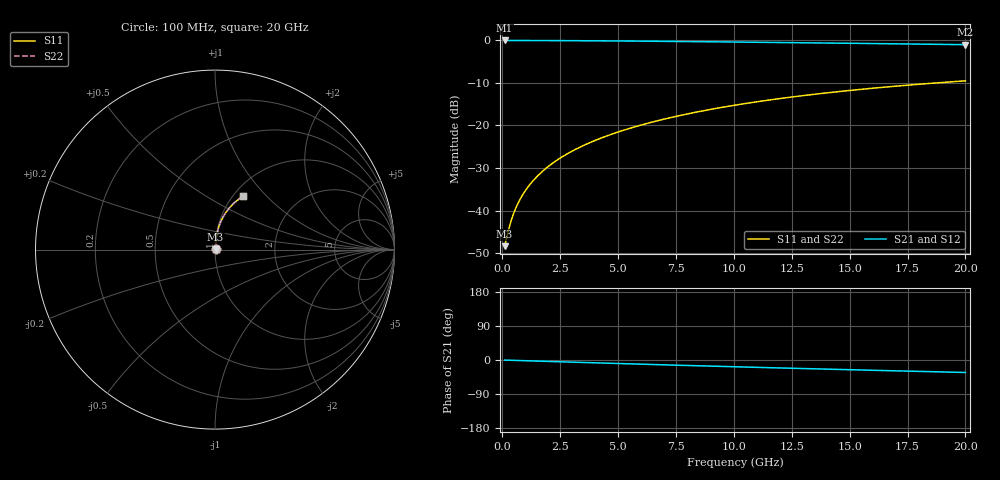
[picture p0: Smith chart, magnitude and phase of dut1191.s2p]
! Touchstone file exported from HFSS 2024.1.0
!  File:  C:/UserFiles/LocalFiles/RDL_TSV_Batchsim/temp_RDL_bottom_1191_1780057668.aedt
!  Generated:  08:30:16 PM May 29, 2026
!  Design:  RDL_bottom
!  Project:  temp_RDL_bottom_1191_1780057668
!  Setup:  Setup1
!  Solution:  Sweep
! Variables:
!  dtsv = 10.80580581um
!  hbump = 3um
!  htsv = 92.15um
!  ldown = 435.28um
!  lrdl = 100um
!  p = 40
!  p1 = 46.9um
!  rhole = 1um
!  t = 450um
!  tdown = 2.54um
!  trdl = 3.915915916um
!  wdown = 19.46um
!  wrdl = 20um
# GHz S MA R 50.000000
! Terminal data exported
! Port[1] = RDL1_T1
! Port[2] = RDL1_T2
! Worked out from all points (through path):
!   200 points, 100 MHz to 20 GHz, reference 50 ohm
!   highest |S21| = -0.03 dB at 100 MHz (marker M1); lowest = -1.0 dB at 20 GHz (marker M2)
!   group delay of S21, straight-line fit = 4.55 ps
!   lowest |S11| = -48.4 dB at 100 MHz (marker M3), VSWR 1.01, Z = 50.3 + j0.18 ohm
!   |S11| at or under -10 dB: start of sweep to 18.76 GHz
!   |S22| runs from -48.4 to -9.5 dB; largest |S21 - S12| = 3.5e-15
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0.1  0.003815 27.9  0.9966 -0.2  0.9966 -0.2  0.003815 27.9
! Gamma 0 0 0 0
! Port Impedance 50 0 50 0
0.3  0.006361 55.9  0.9964 -0.6  0.9964 -0.6  0.006361 55.9
0.4  0.00787 62.0  0.9962 -0.8  0.9962 -0.8  0.00787 62.0
0.5  0.009409 66.1  0.9961 -1.0  0.9961 -1.0  0.009409 66.1
0.6  0.01096 69.0  0.9959 -1.2  0.9959 -1.2  0.01096 69.0
0.7  0.01251 71.2  0.9958 -1.4  0.9958 -1.4  0.01251 71.2
0.9  0.01563 74.4  0.9955 -1.7  0.9955 -1.7  0.01563 74.4
1.2  0.02036 77.4  0.995 -2.3  0.995 -2.3  0.02036 77.4
1.4  0.02354 78.8  0.9947 -2.7  0.9947 -2.7  0.02354 78.8
1.7  0.02835 80.2  0.9941 -3.2  0.9941 -3.2  0.02835 80.2
2.2  0.03646 81.7  0.9931 -4.2  0.9931 -4.2  0.03646 81.7
2.8  0.04634 82.6  0.9915 -5.3  0.9915 -5.3  0.04634 82.6
3.5  0.05804 83.1  0.9892 -6.6  0.9892 -6.6  0.05804 83.1
4.2  0.06993 83.1  0.9866 -7.9  0.9866 -7.9  0.06993 83.1
5  0.08371 82.8  0.9832 -9.3  0.9832 -9.3  0.08371 82.8
5.9  0.09943 82.2  0.9789 -10.9  0.9789 -10.9  0.09943 82.2
6.8  0.1153 81.3  0.9743 -12.5  0.9743 -12.5  0.1153 81.3
8.4  0.1438 79.5  0.9653 -15.2  0.9653 -15.2  0.1438 79.5
10.1  0.174 77.2  0.9551 -18.0  0.9551 -18.0  0.174 77.2
13.4  0.2311 72.2  0.934 -23.2  0.934 -23.2  0.2311 72.3
16.7  0.2848 67.2  0.912 -28.2  0.912 -28.2  0.2848 67.2
20  0.3342 62.3  0.8894 -32.9  0.8894 -32.9  0.3343 62.3
